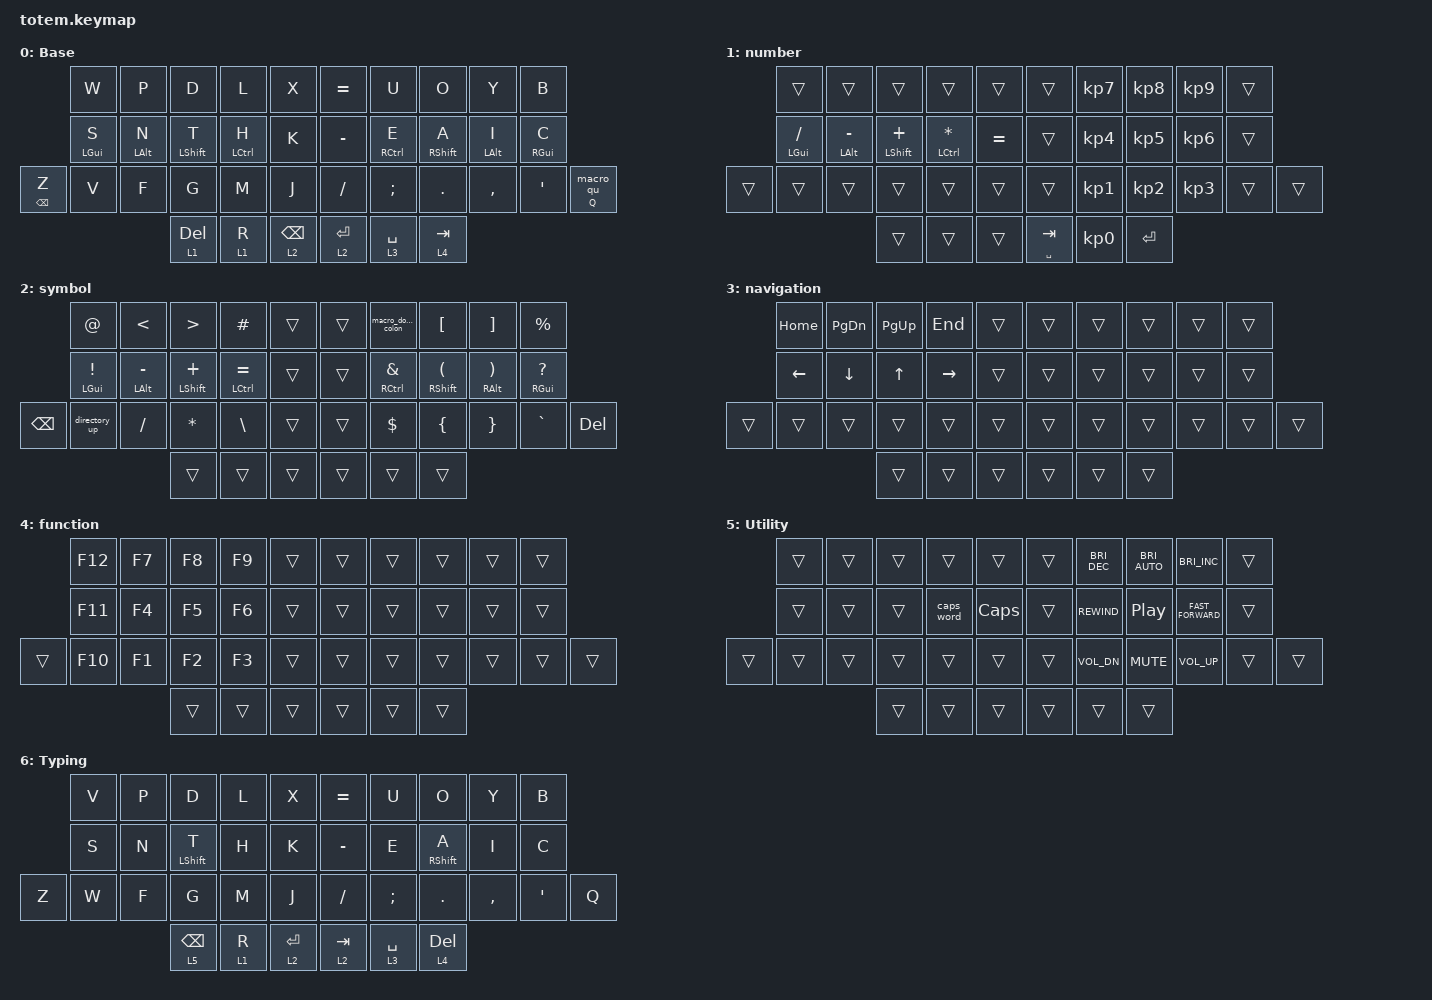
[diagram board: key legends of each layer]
//
//                                                        ▀▀▀▀▀     ▀▀▀▀▀          ▀▀█▀▀
//                                                        ▄▀▀▀▄  ▄  ▄▀▀▀▄  ▄  ▄▀▀▀▄  █  ▄▀▀▀▄
//                                                        █   █  █  █   █  █  █   █  █  █   █
//                                                         ▀▀▀   █   ▀▀▀   █   ▀▀▀   ▀   ▀▀▀
//                                                               █      ▄▄▄█▄▄▄    █   █  
//                                                               ▀      █  █  █     █▄█
//                                                             ▀▀▀▀▀    █  █  █      ▀
//                                                                      ▀  ▀  ▀
//
// ▄▄▄▄▄▄▄▄▄▄▄▄▄▄▄▄▄▄▄▄▄▄▄▄▄▄▄▄▄▄▄▄▄▄▄▄▄▄▄▄▄▄▄▄▄▄▄▄▄▄▄▄▄▄▄▄▄▄▄▄▄▄▄▄▄▄▄▄▄▄▄▄▄▄▄▄▄▄▄▄▄▄▄▄▄▄▄▄▄▄▄▄▄▄▄▄▄▄▄▄▄▄▄▄▄▄▄▄▄▄▄▄▄▄▄▄▄▄▄▄▄▄▄▄▄▄▄▄▄▄▄▄▄▄▄▄▄▄▄▄▄▄▄▄▄▄▄▄▄

#include <behaviors.dtsi>
#include <dt-bindings/zmk/bt.h>
#include <dt-bindings/zmk/keys.h>

#define BASE 0
#define NAV  1
#define SYM  2
#define ADJ  3
#define TVP1 4
#define TVP2 5

&mt {
    quick-tap-ms = <100>;
    global-quick-tap;
    flavor = "tap-preferred";
    tapping-term-ms = <200>;
};

/ {
    combos {
        compatible = "zmk,combos";

        combo_esc {
            timeout-ms = <50>;
            key-positions = <0 1>;
            bindings = <&kp ESC>;
        };

        combo_typing_layer {
            bindings = <&tog 6>;
            key-positions = <20 31>;
            layers = <0>;
        };

        combo_clear_bluetooth {
            bindings = <&bt BT_CLR>;
            key-positions = <0 9>;
        };

        combo_cycle_bluetooth {
            bindings = <&bt BT_NXT>;
            key-positions = <25 26>;
        };
    };

    macros {
        macro_double_colon: double_colon {
            compatible = "zmk,behavior-macro";
            #binding-cells = <0>;
            bindings = <&kp COLON &kp COLON>;
            label = "DOUBLE_COLON";
        };

        directory_up: directory_up {
            compatible = "zmk,behavior-macro";
            #binding-cells = <0>;
            bindings = <&kp DOT &kp DOT &kp FSLH>;
            label = "DIRECTORY_UP";
        };

        macro_qu: macro_qu {
            compatible = "zmk,behavior-macro";
            #binding-cells = <0>;
            bindings = <&kp Q &kp U>;
            label = "MACRO_QU";
        };
    };

    behaviors {
        hrm_l: hrm_l {
            compatible = "zmk,behavior-hold-tap";
            label = "HRM Left";
            bindings = <&kp>, <&kp>;

            #binding-cells = <2>;
            flavor = "tap-preferred";
            hold-trigger-key-positions = <26 15 5 6 27 35 36 37 16 7 17 28 29 18 8 9 19 30 31>;
            tapping-term-ms = <200>;
            quick-tap-ms = <100>;
            hold-trigger-on-release;
        };

        hrm_r: hrm_r {
            compatible = "zmk,behavior-hold-tap";
            label = "HRM Right";
            bindings = <&kp>, <&kp>;

            #binding-cells = <2>;
            flavor = "tap-preferred";
            tapping-term-ms = <200>;
            quick-tap-ms = <100>;
            hold-trigger-key-positions = <20 21 32 0 1 2 3 4 10 11 12 13 14 20 21 22 23 24 25 32 33 34>;
            hold-trigger-on-release;
        };

        td_backspace: td_backspace {
            compatible = "zmk,behavior-tap-dance";
            label = "TD_BACKSPACE";
            #binding-cells = <0>;
            bindings = <&lt 2 BACKSPACE>, <&kp BACKSPACE>;
        };

        td_delete: td_delete {
            compatible = "zmk,behavior-tap-dance";
            label = "TD_DELETE";
            #binding-cells = <0>;
            bindings = <&lt 2 DELETE>, <&kp DEL>;
        };

        q_qu_macro_tap: q_qu_macro_tap {
            compatible = "zmk,behavior-hold-tap";
            label = "Q_QU_MACRO_TAP";
            bindings = <&kp>, <&macro_qu>;

            #binding-cells = <2>;
            tapping-term-ms = <200>;
            flavor = "tap-preferred";
            quick-tap-ms = <100>;
            hold-trigger-on-release;
        };
    };

    keymap {
        compatible = "zmk,keymap";

        // ▄▄▄▄▄▄▄▄▄▄▄▄▄▄▄▄▄▄▄▄▄▄▄▄▄▄▄▄▄▄▄▄▄▄▄▄▄▄▄▄▄▄▄▄▄▄▄▄▄▄▄▄▄▄▄▄▄▄▄▄▄▄▄▄▄▄▄▄▄▄▄▄▄▄▄▄▄▄▄▄▄▄▄▄▄▄▄▄▄▄▄▄▄▄▄▄▄▄▄▄▄▄▄▄▄▄▄▄▄▄▄▄▄▄▄▄▄▄▄▄▄▄▄▄▄▄▄▄▄▄▄▄▄▄▄▄▄▄▄▄▄▄▄▄▄▄▄▄▄

        base_layer {
            // ┏━━━━━━━━━━━━━━━━━━━━━━━━━━━━━━━━━━━━━━━┓

            label = "Base";

            // ┗━━━━━━━━━━━━━━━━━━━━━━━━━━━━━━━━━━━━━━━┛
            //             ┏━━━━━━━━━━━┳━━━━━━━━━━━┳━━━━━━━━━━━┳━━━━━━━━━━━┳━━━━━━━━━━━┓   ┏━━━━━━━━━━━┳━━━━━━━━━━━┳━━━━━━━━━━━┳━━━━━━━━━━━┳━━━━━━━━━━━┓
            //             ┃     Q     ┃     W     ┃     F     ┃     P     ┃     G     ┃   ┃     J     ┃     L     ┃     U     ┃     Y     ┃     ;     ┃
            //             ┣━━━━━━━━━━━╋━━━━━━━━━━━╋━━━━━━━━━━━╋━━━━━━━━━━━╋━━━━━━━━━━━┫   ┣━━━━━━━━━━━╋━━━━━━━━━━━╋━━━━━━━━━━━╋━━━━━━━━━━━╋━━━━━━━━━━━┫
            //             ┃     A     ┃     R     ┃     S     ┃     T     ┃     D     ┃   ┃     H     ┃     N     ┃     E     ┃     I     ┃     O     ┃
            // ┏━━━━━━━━━━━╋━━━━━━━━━━━╋━━━━━━━━━━━╋━━━━━━━━━━━╋━━━━━━━━━━━╋━━━━━━━━━━━┫   ┣━━━━━━━━━━━╋━━━━━━━━━━━╋━━━━━━━━━━━╋━━━━━━━━━━━╋━━━━━━━━━━━╋━━━━━━━━━━━┓
            // ┃     Q     ┃     Z     ┃     X     ┃     C     ┃     V     ┃     B     ┃   ┃     K     ┃     M     ┃     ,     ┃     .     ┃     /     ┃     \     ┃
            // ┗━━━━━━━━━━━┻━━━━━━━━━━━┻━━━━━━━━━━━╋━━━━━━━━━━━╋━━━━━━━━━━━╋━━━━━━━━━━━┫   ┣━━━━━━━━━━━╋━━━━━━━━━━━╋━━━━━━━━━━━╋━━━━━━━━━━━┻━━━━━━━━━━━┻━━━━━━━━━━━┛
            //                                     ┃    DEL    ┃    TAB    ┃    SPC    ┃   ┃   ENTER   ┃           ┃   BSPC    ┃
            //                                     ┗━━━━━━━━━━━┻━━━━━━━━━━━┻━━━━━━━━━━━┛   ┗━━━━━━━━━━━┻━━━━━━━━━━━┻━━━━━━━━━━━┛

            bindings = <
                 &kp W          &kp P          &kp D                &kp L                  &kp X              &kp EQUAL    &kp U                   &kp O                 &kp Y              &kp B
                 &hrm_l LGUI S  &hrm_l LALT N  &hrm_l LEFT_SHIFT T  &hrm_l LEFT_CONTROL H  &kp K              &kp MINUS    &hrm_r RIGHT_CONTROL E  &hrm_r RIGHT_SHIFT A  &hrm_r LEFT_ALT I  &hrm_r RGUI C
&mt BACKSPACE Z  &kp V          &kp F          &kp G                &kp M                  &kp J              &kp SLASH    &kp SEMICOLON           &kp PERIOD            &kp COMMA          &kp APOSTROPHE  &q_qu_macro_tap Q 0
                                               &lt 1 DELETE         &lt 1 R                &lt 2 BACKSPACE    &lt 2 ENTER  &lt 3 SPACE             &lt 4 TAB
            >;
        };

        // ▄▄▄▄▄▄▄▄▄▄▄▄▄▄▄▄▄▄▄▄▄▄▄▄▄▄▄▄▄▄▄▄▄▄▄▄▄▄▄▄▄▄▄▄▄▄▄▄▄▄▄▄▄▄▄▄▄▄▄▄▄▄▄▄▄▄▄▄▄▄▄▄▄▄▄▄▄▄▄▄▄▄▄▄▄▄▄▄▄▄▄▄▄▄▄▄▄▄▄▄▄▄▄▄▄▄▄▄▄▄▄▄▄▄▄▄▄▄▄▄▄▄▄▄▄▄▄▄▄▄▄▄▄▄▄▄▄▄▄▄▄▄▄▄▄▄▄▄▄
        // ▄▄▄▄▄▄▄▄▄▄▄▄▄▄▄▄▄▄▄▄▄▄▄▄▄▄▄▄▄▄▄▄▄▄▄▄▄▄▄▄▄▄▄▄▄▄▄▄▄▄▄▄▄▄▄▄▄▄▄▄▄▄▄▄▄▄▄▄▄▄▄▄▄▄▄▄▄▄▄▄▄▄▄▄▄▄▄▄▄▄▄▄▄▄▄▄▄▄▄▄▄▄▄▄▄▄▄▄▄▄▄▄▄▄▄▄▄▄▄▄▄▄▄▄▄▄▄▄▄▄▄▄▄▄▄▄▄▄▄▄▄▄▄▄▄▄▄▄▄
        // ▄▄▄▄▄▄▄▄▄▄▄▄▄▄▄▄▄▄▄▄▄▄▄▄▄▄▄▄▄▄▄▄▄▄▄▄▄▄▄▄▄▄▄▄▄▄▄▄▄▄▄▄▄▄▄▄▄▄▄▄▄▄▄▄▄▄▄▄▄▄▄▄▄▄▄▄▄▄▄▄▄▄▄▄▄▄▄▄▄▄▄▄▄▄▄▄▄▄▄▄▄▄▄▄▄▄▄▄▄▄▄▄▄▄▄▄▄▄▄▄▄▄▄▄▄▄▄▄▄▄▄▄▄▄▄▄▄▄▄▄▄▄▄▄▄▄▄▄▄
        // ▄▄▄▄▄▄▄▄▄▄▄▄▄▄▄▄▄▄▄▄▄▄▄▄▄▄▄▄▄▄▄▄▄▄▄▄▄▄▄▄▄▄▄▄▄▄▄▄▄▄▄▄▄▄▄▄▄▄▄▄▄▄▄▄▄▄▄▄▄▄▄▄▄▄▄▄▄▄▄▄▄▄▄▄▄▄▄▄▄▄▄▄▄▄▄▄▄▄▄▄▄▄▄▄▄▄▄▄▄▄▄▄▄▄▄▄▄▄▄▄▄▄▄▄▄▄▄▄▄▄▄▄▄▄▄▄▄▄▄▄▄▄▄▄▄▄▄▄▄
        // ▄▄▄▄▄▄▄▄▄▄▄▄▄▄▄▄▄▄▄▄▄▄▄▄▄▄▄▄▄▄▄▄▄▄▄▄▄▄▄▄▄▄▄▄▄▄▄▄▄▄▄▄▄▄▄▄▄▄▄▄▄▄▄▄▄▄▄▄▄▄▄▄▄▄▄▄▄▄▄▄▄▄▄▄▄▄▄▄▄▄▄▄▄▄▄▄▄▄▄▄▄▄▄▄▄▄▄▄▄▄▄▄▄▄▄▄▄▄▄▄▄▄▄▄▄▄▄▄▄▄▄▄▄▄▄▄▄▄▄▄▄▄▄▄▄▄▄▄▄

        number {
            bindings = <
        &trans                 &trans                 &trans                  &trans                 &trans       &trans         &kp KP_NUMBER_7  &kp KP_NUMBER_8  &kp KP_NUMBER_9  &trans
        &hrm_l LEFT_GUI SLASH  &hrm_l LEFT_ALT MINUS  &hrm_l LEFT_SHIFT PLUS  &hrm_l LCTRL ASTERISK  &kp EQUAL    &trans         &kp KP_NUMBER_4  &kp KP_NUMBER_5  &kp KP_NUMBER_6  &trans
&trans  &trans                 &trans                 &trans                  &trans                 &trans       &trans         &kp KP_NUMBER_1  &kp KP_NUMBER_2  &kp KP_NUMBER_3  &trans  &trans
                                                      &trans                  &trans                 &trans       &mt SPACE TAB  &kp KP_NUMBER_0  &kp ENTER
            >;
        };

        symbol {
            bindings = <
               &kp AT_SIGN                  &kp LESS_THAN          &kp GREATER_THAN        &kp HASH            &trans    &trans  &macro_double_colon     &kp LBKT                             &kp RBKT                            &kp PERCENT
               &hrm_l LEFT_GUI EXCLAMATION  &hrm_l LEFT_ALT MINUS  &hrm_l LEFT_SHIFT PLUS  &hrm_l LCTRL EQUAL  &trans    &trans  &hrm_r RCTRL AMPERSAND  &hrm_r RIGHT_SHIFT LEFT_PARENTHESIS  &hrm_r RIGHT_ALT RIGHT_PARENTHESIS  &hrm_r RIGHT_GUI QUESTION
&kp BACKSPACE  &directory_up                &kp FSLH               &kp STAR                &kp BSLH            &trans    &trans  &kp DOLLAR              &kp LEFT_BRACE                       &kp RIGHT_BRACE                     &kp GRAVE                  &kp DEL
                                                                   &trans                  &trans              &trans    &trans  &trans                  &trans
            >;
        };

        navigation {
            bindings = <
        &kp HOME  &kp PG_DN  &kp PG_UP  &kp END    &trans    &trans  &trans  &trans  &trans  &trans
        &kp LEFT  &kp DOWN   &kp UP     &kp RIGHT  &trans    &trans  &trans  &trans  &trans  &trans
&trans  &trans    &trans     &trans     &trans     &trans    &trans  &trans  &trans  &trans  &trans  &trans
                             &trans     &trans     &trans    &trans  &trans  &trans
            >;
        };

        function {
            bindings = <
        &kp F12  &kp F7  &kp F8  &kp F9  &trans    &trans  &trans  &trans  &trans  &trans
        &kp F11  &kp F4  &kp F5  &kp F6  &trans    &trans  &trans  &trans  &trans  &trans
&trans  &kp F10  &kp F1  &kp F2  &kp F3  &trans    &trans  &trans  &trans  &trans  &trans  &trans
                         &trans  &trans  &trans    &trans  &trans  &trans
            >;
        };

        Utility {
            bindings = <
        &trans  &trans  &trans  &trans      &trans          &trans  &kp C_BRIGHTNESS_DEC  &kp C_BRIGHTNESS_AUTO  &kp C_BRIGHTNESS_INC  &trans
        &trans  &trans  &trans  &caps_word  &kp CAPSLOCK    &trans  &kp C_REWIND          &kp C_PLAY_PAUSE       &kp C_FAST_FORWARD    &trans
&trans  &trans  &trans  &trans  &trans      &trans          &trans  &kp C_VOL_DN          &kp K_MUTE             &kp C_VOLUME_UP       &trans  &trans
                        &trans  &trans      &trans          &trans  &trans                &trans
            >;
        };

        Typing {
            label = "Typing";
            bindings = <
       &kp V  &kp P  &kp D                &kp L    &kp X          &kp EQUAL  &kp U          &kp O                 &kp Y      &kp B
       &kp S  &kp N  &hrm_l LEFT_SHIFT T  &kp H    &kp K          &kp MINUS  &kp E          &hrm_r RIGHT_SHIFT A  &kp I      &kp C
&kp Z  &kp W  &kp F  &kp G                &kp M    &kp J          &kp SLASH  &kp SEMICOLON  &kp PERIOD            &kp COMMA  &kp SQT  &kp Q
                     &lt 5 BACKSPACE      &lt 1 R  &lt 2 ENTER    &lt 2 TAB  &lt 3 SPACE    &lt 4 DELETE
            >;
        };
    };
};
